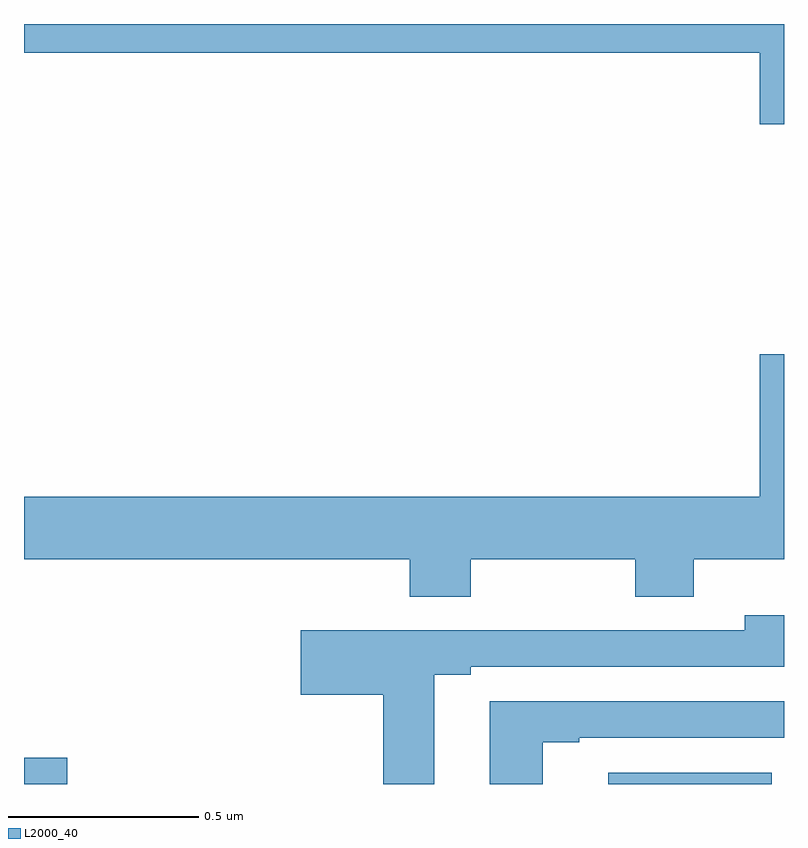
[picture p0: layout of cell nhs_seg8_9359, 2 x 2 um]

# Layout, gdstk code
import gdstk
lib = gdstk.Library(unit=1e-6, precision=1e-09)
def R(c, l, rs):  # rectangles x0, y0, x1, y1
    for r in rs: c.add(gdstk.rectangle(r[:2], r[2:], *l))
def P(c, l, *ps):  # polygons
    for p in ps: c.add(gdstk.Polygon(p, *l))
L2000_40 = (2000, 40)

nhs_seg8_9359 = lib.new_cell('nhs_seg8_9359')
R(nhs_seg8_9359, L2000_40, [(235,1123.9,235.114,1123.969), (236.538,1123.9,236.968,1123.93)])
P(nhs_seg8_9359, L2000_40, [(237,1125.9),(235,1125.9),(235,1125.824),(236.936,1125.824),(236.936,1125.636),(237,1125.636)],
  [(236.175,1124.492),(236.608,1124.492),(236.608,1124.393),(236.763,1124.393),(236.763,1124.492),(237,1124.492),(237,1125.031),(236.936,1125.031),(236.936,1124.656),(235,1124.656),(235,1124.492),(236.015,1124.492),(236.015,1124.393),(236.175,1124.393)],
  [(236.08,1124.188),(236.176,1124.188),(236.176,1124.208),(237,1124.208),(237,1124.344),(236.897,1124.344),(236.897,1124.304),(235.962,1124.304),(235.962,1124.305),(235.728,1124.305),(235.728,1124.135),(235.946,1124.135),(235.946,1123.9),(236.08,1123.9)],
  [(236.365,1124.01),(236.461,1124.01),(236.461,1124.022),(237,1124.022),(237,1124.118),(236.225,1124.118),(236.225,1123.9),(236.365,1123.9)])

lib.write_gds('nhs_seg8_9359.gds')
